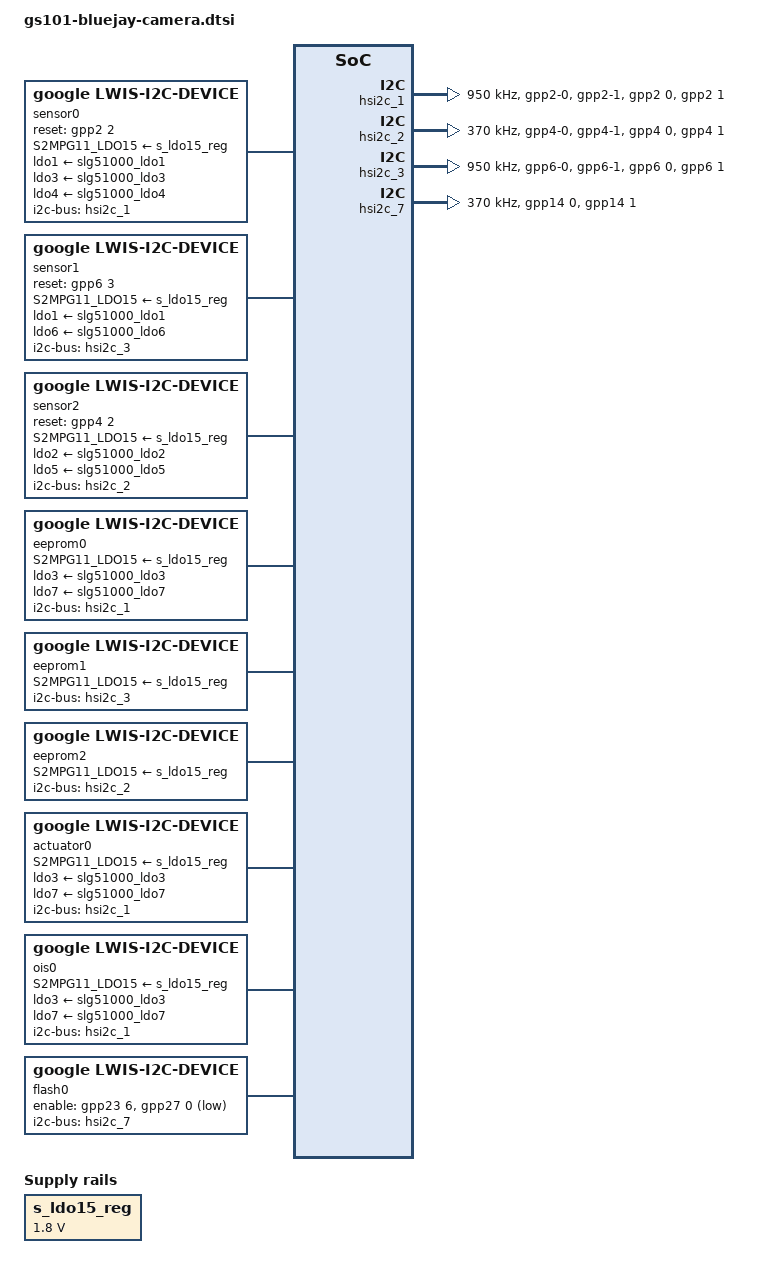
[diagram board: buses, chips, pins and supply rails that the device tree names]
// SPDX-License-Identifier: GPL-2.0-only
/*
 * gs101 camera lwis device tree source for bluejay
 *
 * Copyright 2021 Google LLC.
 *
 */

#include <dt-bindings/clock/gs101.h>
#include <dt-bindings/gpio/gpio.h>
#include <dt-bindings/pinctrl/samsung.h>

&pinctrl_4 {
	hsi2c1_bus: hsi2c1-bus {
		samsung,pin-pud = <EXYNOS_PIN_PULL_UP>;
	};

	hsi2c1_bus_in: hsi2c1-bus-in {
		samsung,pins = "gpp2-0", "gpp2-1";
		samsung,pin-function = <EXYNOS_PIN_FUNC_INPUT>;
		samsung,pin-pud = <EXYNOS_PIN_PULL_NONE>;
		samsung,pin-drv = <GS101_PIN_DRV_2_5_MA>;
	};

	hsi2c2_bus: hsi2c2-bus {
		samsung,pin-pud = <EXYNOS_PIN_PULL_UP>;
	};

	hsi2c2_bus_in: hsi2c2-bus-in {
		samsung,pins = "gpp4-0", "gpp4-1";
		samsung,pin-function = <EXYNOS_PIN_FUNC_INPUT>;
		samsung,pin-pud = <EXYNOS_PIN_PULL_NONE>;
		samsung,pin-drv = <GS101_PIN_DRV_2_5_MA>;
	};

	hsi2c3_bus: hsi2c3-bus {
		samsung,pin-pud = <EXYNOS_PIN_PULL_UP>;
	};

	hsi2c3_bus_in: hsi2c3-bus-in {
		samsung,pins = "gpp6-0", "gpp6-1";
		samsung,pin-function = <EXYNOS_PIN_FUNC_INPUT>;
		samsung,pin-pud = <EXYNOS_PIN_PULL_NONE>;
		samsung,pin-drv = <GS101_PIN_DRV_2_5_MA>;
	};
};

&hsi2c_1 {
	#address-cells = <1>;
	#size-cells = <0>;
	gpios = <&gpp2 0 GPIO_ACTIVE_HIGH>, <&gpp2 1 GPIO_ACTIVE_HIGH>;
	status = "okay";
	clock-frequency = <950000>;
	samsung,reset-before-trans;

	pinctrl-names = "default","on_i2c","off_i2c";
	pinctrl-0 = <&hsi2c1_bus_in>;
	pinctrl-1 = <&hsi2c1_bus>;
	pinctrl-2 = <&hsi2c1_bus_in>;
};

&hsi2c_2 {
	#address-cells = <1>;
	#size-cells = <0>;
	gpios = <&gpp4 0 GPIO_ACTIVE_HIGH>, <&gpp4 1 GPIO_ACTIVE_HIGH>;
	status = "okay";
	clock-frequency = <370000>;
	samsung,reset-before-trans;

	pinctrl-names = "default","on_i2c","off_i2c";
	pinctrl-0 = <&hsi2c2_bus_in>;
	pinctrl-1 = <&hsi2c2_bus>;
	pinctrl-2 = <&hsi2c2_bus_in>;
};

&hsi2c_3 {
	#address-cells = <1>;
	#size-cells = <0>;
	gpios = <&gpp6 0 GPIO_ACTIVE_HIGH>, <&gpp6 1 GPIO_ACTIVE_HIGH>;
	status = "okay";
	clock-frequency = <950000>;
	samsung,reset-before-trans;

	pinctrl-names = "default","on_i2c","off_i2c";
	pinctrl-0 = <&hsi2c3_bus_in>;
	pinctrl-1 = <&hsi2c3_bus>;
	pinctrl-2 = <&hsi2c3_bus_in>;
};

&hsi2c_7 {
	#address-cells = <1>;
	#size-cells = <0>;
	gpios = <&gpp14 0 GPIO_ACTIVE_HIGH>, <&gpp14 1 GPIO_ACTIVE_HIGH>;
	status = "okay";
	clock-frequency = <370000>;

	pinctrl-names = "default","on_i2c","off_i2c";
	pinctrl-0 = <&hsi2c7_bus>;
	pinctrl-1 = <&hsi2c7_bus>;
	pinctrl-2 = <&hsi2c7_bus>;
};

&s_ldo15_reg {
	regulator-min-microvolt = <1800000>;
	regulator-max-microvolt = <1800000>;
	regulator-initial-mode = <0>;
};

/ {
	fragment@lwiscamera {
		target-path = "/";
		__overlay__ {
			/* REAR CAMERA IMX363 */
			sensor0: sensor@0 {
				compatible = "google,lwis-i2c-device";

				/* Device node name */
				node-name = "sensor-imx363";

				/* I2C */
				i2c-bus = <&hsi2c_1>;
				i2c-addr = <0x10>;

				/* Registers */
				reg-addr-bitwidth = <16>;
				reg-value-bitwidth = <8>;

				/* GPIOs */
				/* RCAM_RST_L GPP2[2] */
				reset-gpios = <&gpp2 2 GPIO_ACTIVE_HIGH>;

				/* Power supplies */
				S2MPG11_LDO15-supply = <&s_ldo15_reg>;
				ldo1-supply = <&slg51000_ldo1>;
				ldo3-supply = <&slg51000_ldo3>;
				ldo4-supply = <&slg51000_ldo4>;
				ldo6-supply = <&slg51000_ldo6>;
				ldo7-supply = <&slg51000_ldo7>;

				clocks =
					<&clock CIS_CLK3>,
					<&clock GATE_DFTMUX_CMU_CIS_CLK3>;
				clock-names =
					"CIS_CLK3",
					"GATE_DFTMUX_CMU_CIS_CLK3";
				clock-rates =
					<26000000>,
					<0>;

				/* MCLK Control */
				pinctrl-names = "mclk_on", "mclk_off";
				pinctrl-0 = <&sensor_mclk4_fn>;
				pinctrl-1 = <&sensor_mclk4_out>;

				/* Power up sequence */
				power-up-seqs =
					"S2MPG11_LDO15",
					"ldo3",
					"ldo7",
					"ldo1",
					"ldo4",
					"ldo6",
					"reset",
					"mclk_on";
				power-up-seq-types =
					"regulator",
					"regulator",
					"regulator",
					"regulator",
					"regulator",
					"regulator",
					"gpio",
					"pinctrl";
				power-up-seq-delays-us =
					<1000
					 1000
					 1000
					 1000
					 1000
					 1000
					 1000
					 9000>;

				/* Power down sequence */
				power-down-seqs =
					"mclk_off",
					"reset",
					"ldo6",
					"ldo4",
					"ldo1",
					"ldo7",
					"ldo3",
					"S2MPG11_LDO15";
				power-down-seq-types =
					"pinctrl",
					"gpio",
					"regulator",
					"regulator",
					"regulator",
					"regulator",
					"regulator",
					"regulator";
				power-down-seq-delays-us =
					<1000
					 1000
					 1000
					 1000
					 1000
					 1000
					 1000
					 1000>;
			};

			/* REAR ULTRA WIDE CAMERA IMX386 */
			sensor1: sensor@1 {
				compatible = "google,lwis-i2c-device";

				/* Device node name */
				node-name = "sensor-imx386";

				/* I2C */
				i2c-bus = <&hsi2c_3>;
				i2c-addr = <0x1A>;

				/* Registers */
				reg-addr-bitwidth = <16>;
				reg-value-bitwidth = <8>;

				/* GPIOs */
				reset-gpios = <&gpp6 3 GPIO_ACTIVE_HIGH>;

				/* Power supplies */
				S2MPG11_LDO15-supply = <&s_ldo15_reg>;
				ldo1-supply = <&slg51000_ldo1>;
				ldo6-supply = <&slg51000_ldo6>;

				clocks =
					<&clock CIS_CLK0>,
					<&clock GATE_DFTMUX_CMU_CIS_CLK0>;
				clock-names =
					"CIS_CLK0",
					"GATE_DFTMUX_CMU_CIS_CLK0";
				clock-rates =
					<24000000>,
					<0>;

				/* MCLK Control */
				pinctrl-names = "mclk_on", "mclk_off";
				pinctrl-0 = <&sensor_mclk1_fn>;
				pinctrl-1 = <&sensor_mclk1_out>;

				/* Power up sequence */
				power-up-seqs =
					"S2MPG11_LDO15",
					"ldo1",
					"ldo6",
					"reset",
					"mclk_on";
				power-up-seq-types =
					"regulator",
					"regulator",
					"regulator",
					"gpio",
					"pinctrl";
				power-up-seq-delays-us =
					<1000
					 1000
					 1000
					 1000
					 5000>;

				/* Power down sequence */
				power-down-seqs =
					"mclk_off",
					"reset",
					"ldo6",
					"ldo1",
					"S2MPG11_LDO15";
				power-down-seq-types =
					"pinctrl",
					"gpio",
					"regulator",
					"regulator",
					"regulator";
				power-down-seq-delays-us =
					<1000
					 1000
					 1000
					 1000
					 1000>;
			};

			/* FRONT CAMERA IMX355 */
			sensor2: sensor@2 {
				compatible = "google,lwis-i2c-device";

				/* Device node name */
				node-name = "sensor-imx355";

				/* I2C */
				i2c-bus = <&hsi2c_2>;
				i2c-addr = <0x1A>;

				/* Registers */
				reg-addr-bitwidth = <16>;
				reg-value-bitwidth = <8>;

				/* GPIOs */
				reset-gpios = <&gpp4 2 GPIO_ACTIVE_HIGH>;

				/* Power supplies */
				S2MPG11_LDO15-supply = <&s_ldo15_reg>;
				ldo2-supply = <&slg51000_ldo2>;
				ldo5-supply = <&slg51000_ldo5>;

				clocks =
					<&clock CIS_CLK1>,
					<&clock GATE_DFTMUX_CMU_CIS_CLK1>;
				clock-names =
					"CIS_CLK1",
					"GATE_DFTMUX_CMU_CIS_CLK1";
				clock-rates =
					<24000000>,
					<0>;

				/* MCLK Control */
				pinctrl-names = "mclk_on", "mclk_off";
				pinctrl-0 = <&sensor_mclk2_fn>;
				pinctrl-1 = <&sensor_mclk2_out>;

				/* Power up sequence */
				power-up-seqs =
					"S2MPG11_LDO15",
					"ldo2",
					"ldo5",
					"reset",
					"mclk_on";
				power-up-seq-types =
					"regulator",
					"regulator",
					"regulator",
					"gpio",
					"pinctrl";
				power-up-seq-delays-us =
					<1000
					 1000
					 1000
					 1000
					 1000>;

				/* Power down sequence */
				power-down-seqs =
					"mclk_off",
					"reset",
					"ldo5",
					"ldo2",
					"S2MPG11_LDO15";
				power-down-seq-types =
					"pinctrl",
					"gpio",
					"regulator",
					"regulator",
					"regulator";
				power-down-seq-delays-us =
					<1000
					 1000
					 1000
					 1000
					 1000>;
			};

			/* Eeprom lc898129 for imx363 */
			eeprom0: eeprom@0 {
				compatible = "google,lwis-i2c-device";

				/* Device node name */
				node-name = "eeprom-lc898129";

				/* I2C */
				i2c-bus = <&hsi2c_1>;
				i2c-addr = <0x3B>;

				/* Registers */
				reg-addr-bitwidth = <16>;
				reg-value-bitwidth = <32>;

				/* Power supplies */
				S2MPG11_LDO15-supply = <&s_ldo15_reg>;
				ldo3-supply = <&slg51000_ldo3>;
				ldo7-supply = <&slg51000_ldo7>;

				/* Power up sequence */
				power-up-seqs =
					"S2MPG11_LDO15",
					"ldo3",
					"ldo7";
				power-up-seq-types =
					"regulator",
					"regulator",
					"regulator";
				power-up-seq-delays-us =
					<1000
					 1000
					 1000>;

				/* Power down sequence */
				power-down-seqs =
					"ldo7",
					"ldo3",
					"S2MPG11_LDO15";
				power-down-seq-types =
					"regulator",
					"regulator",
					"regulator";
				power-down-seq-delays-us =
					<1000
					 1000
					 1000>;
			};

			/* Eeprom m24c64x for imx386 */
			eeprom1: eeprom@1 {
				compatible = "google,lwis-i2c-device";

				/* Device node name */
				node-name = "eeprom-m24c64x";

				/* I2C */
				i2c-bus = <&hsi2c_3>;
				i2c-addr = <0x50>;

				/* Registers */
				reg-addr-bitwidth = <16>;
				reg-value-bitwidth = <8>;

				/* Power supplies */
				S2MPG11_LDO15-supply = <&s_ldo15_reg>;

				/* Power up sequence */
				power-up-seqs =
					"S2MPG11_LDO15";
				power-up-seq-types =
					"regulator";
				power-up-seq-delays-us =
					<1000>;

				/* Power down sequence */
				power-down-seqs =
					"S2MPG11_LDO15";
				power-down-seq-types =
					"regulator";
				power-down-seq-delays-us =
					<1000>;
			};

			/* Eeprom m24c64s for imx355 */
			eeprom2: eeprom@2 {
				compatible = "google,lwis-i2c-device";

				/* Device node name */
				node-name = "eeprom-m24c64s";

				/* I2C */
				i2c-bus = <&hsi2c_2>;
				i2c-addr = <0x51>;

				/* Registers */
				reg-addr-bitwidth = <16>;
				reg-value-bitwidth = <8>;

				/* Power supplies */
				S2MPG11_LDO15-supply = <&s_ldo15_reg>;

				/* Power up sequence */
				power-up-seqs =
					"S2MPG11_LDO15";
				power-up-seq-types =
					"regulator";
				power-up-seq-delays-us =
					<1000>;

				/* Power down sequence */
				power-down-seqs =
					"S2MPG11_LDO15";
				power-down-seq-types =
					"regulator";
				power-down-seq-delays-us =
					<1000>;
			};

			/* Actuator lc898129 for imx363 */
			actuator0: actuator@0 {
				compatible = "google,lwis-i2c-device";

				/* Device node name */
				node-name = "act-lc898129";

				/* I2C */
				i2c-bus = <&hsi2c_1>;
				i2c-addr = <0x3B>;

				/* Registers */
				reg-addr-bitwidth = <16>;
				reg-value-bitwidth = <32>;

				/* Power supplies */
				S2MPG11_LDO15-supply = <&s_ldo15_reg>;
				ldo3-supply = <&slg51000_ldo3>;
				ldo7-supply = <&slg51000_ldo7>;

				/* Power up sequence */
				power-up-seqs =
					"S2MPG11_LDO15",
					"ldo3",
					"ldo7";
				power-up-seq-types =
					"regulator",
					"regulator",
					"regulator";
				power-up-seq-delays-us =
					<1000
					 1000
					 1000>;

				/* Power down sequence */
				power-down-seqs =
					"ldo7",
					"ldo3",
					"S2MPG11_LDO15";
				power-down-seq-types =
					"regulator",
					"regulator",
					"regulator";
				power-down-seq-delays-us =
					<1000
					 1000
					 1000>;
			};

			/* Ois lc898129 for imx363 */
			ois0: ois@0 {
				compatible = "google,lwis-i2c-device";

				/* Device node name */
				node-name = "ois-lc898129";

				/* I2C */
				i2c-bus = <&hsi2c_1>;
				i2c-addr = <0x3B>;

				/* Registers */
				reg-addr-bitwidth = <16>;
				reg-value-bitwidth = <32>;

				/* Power supplies */
				S2MPG11_LDO15-supply = <&s_ldo15_reg>;
				ldo3-supply = <&slg51000_ldo3>;
				ldo7-supply = <&slg51000_ldo7>;

				/* Power up sequence */
				power-up-seqs =
					"S2MPG11_LDO15",
					"ldo3",
					"ldo7";
				power-up-seq-types =
					"regulator",
					"regulator",
					"regulator";
				power-up-seq-delays-us =
					<1000
					 1000
					 1000>;

				/* Power down sequence */
				power-down-seqs =
					"ldo7",
					"ldo3",
					"S2MPG11_LDO15";
				power-down-seq-types =
					"regulator",
					"regulator",
					"regulator";
				power-down-seq-delays-us =
					<1000
					 1000
					 1000>;
			};

			flash0: flash@0 {
				compatible = "google,lwis-i2c-device";

				/* Device node name */
				node-name = "flash-lm3644";

				/* I2C */
				i2c-bus = <&hsi2c_7>;
				i2c-addr = <0x63>;

				/* Registers */
				reg-addr-bitwidth = <8>;
				reg-value-bitwidth = <8>;

				/* Power Management hibernation (deep sleep) */
				/* 1 : enable, 0 : disable */
				pm-hibernation = <0>;

				/* GPIOs */
				/* HW_ENABLE GPP23[6] */
				/* FLASH_STROBE GPP27[0] */
				enable-gpios =
					<&gpp23 6 GPIO_ACTIVE_HIGH
					 &gpp27 0 GPIO_ACTIVE_LOW>;
			};
		};
	};
};
